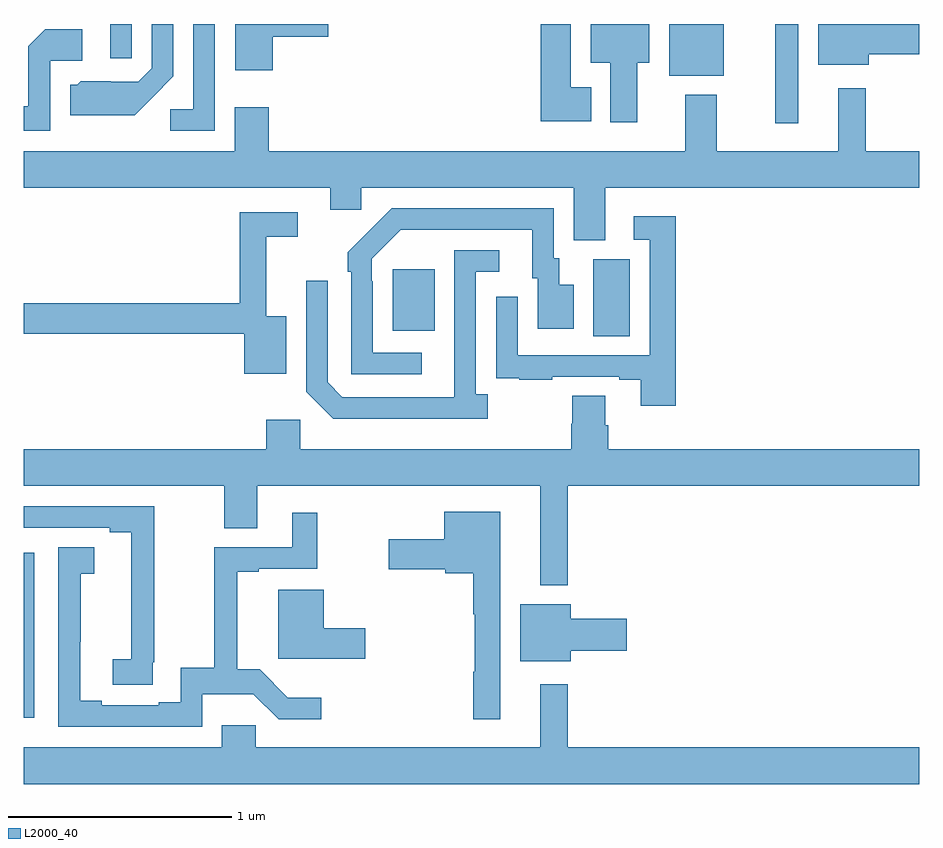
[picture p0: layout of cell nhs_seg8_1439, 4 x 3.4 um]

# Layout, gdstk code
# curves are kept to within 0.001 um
import gdstk
lib = gdstk.Library(unit=1e-6, precision=1e-09)
def R(c, l, rs):  # rectangles x0, y0, x1, y1
    for r in rs: c.add(gdstk.rectangle(r[:2], r[2:], *l))
def P(c, l, *ps):  # polygons
    for p in ps: c.add(gdstk.Polygon(p, *l))
L2000_40 = (2000, 40)

nhs_seg8_1439 = lib.new_cell('nhs_seg8_1439')
R(nhs_seg8_1439, L2000_40, [(203,1112.801,203.047,1113.538), (205.544,1114.504,205.708,1114.848), (204.647,1114.529,204.835,1114.804), (206.357,1115.457,206.461,1115.9), (205.883,1115.669,206.128,1115.9), (203.385,1115.748,203.481,1115.9)])
P(nhs_seg8_1439, L2000_40, [(205.741,1115.726),(205.795,1115.726),(205.795,1115.9),(205.532,1115.9),(205.532,1115.726),(205.619,1115.726),(205.619,1115.46),(205.741,1115.46)],
  [(204.112,1115.843),(204.361,1115.843),(204.361,1115.9),(203.945,1115.9),(203.945,1115.694),(204.112,1115.694)],
  [(206.776,1115.764),(207,1115.764),(207,1115.9),(206.549,1115.9),(206.549,1115.717),(206.776,1115.717)],
  [(203.575,1115.573),(203.667,1115.666),(203.667,1115.9),(203.571,1115.9),(203.571,1115.703),(203.511,1115.643),(203.254,1115.644),(203.238,1115.628),(203.207,1115.628),(203.207,1115.492),(203.495,1115.492)],
  [(203.853,1115.9),(203.757,1115.9),(203.757,1115.52),(203.655,1115.52),(203.655,1115.424),(203.853,1115.424)],
  [(205.534,1115.617),(205.444,1115.617),(205.444,1115.9),(205.31,1115.9),(205.31,1115.465),(205.534,1115.465)],
  [(203.118,1115.736),(203.26,1115.736),(203.26,1115.876),(203.095,1115.876),(203.019,1115.8),(203.019,1115.533),(203,1115.533),(203,1115.424),(203.118,1115.424)],
  [(205.597,1115.168),(207,1115.168),(207,1115.332),(206.761,1115.332),(206.761,1115.614),(206.639,1115.614),(206.639,1115.332),(206.095,1115.332),(206.095,1115.584),(205.955,1115.584),(205.955,1115.332),(204.095,1115.332),(204.095,1115.527),(203.942,1115.527),(203.942,1115.332),(203,1115.332),(203,1115.168),(204.368,1115.168),(204.368,1115.07),(204.507,1115.07),(204.507,1115.168),(205.457,1115.168),(205.457,1114.933),(205.597,1114.933)],
  [(204.778,1114.431),(204.558,1114.431),(204.558,1114.751),(204.555,1114.751),(204.555,1114.851),(204.684,1114.98),(205.271,1114.98),(205.271,1114.764),(205.295,1114.764),(205.295,1114.539),(205.456,1114.539),(205.456,1114.735),(205.393,1114.735),(205.393,1114.854),(205.368,1114.854),(205.368,1115.076),(204.644,1115.076),(204.447,1114.881),(204.447,1114.793),(204.462,1114.793),(204.462,1114.335),(204.778,1114.335)],
  [(204.172,1114.594),(204.083,1114.594),(204.083,1114.95),(204.223,1114.95),(204.223,1115.058),(203.965,1115.058),(203.965,1114.652),(203,1114.652),(203,1114.516),(203.985,1114.516),(203.985,1114.337),(204.172,1114.337)],
  [(205.913,1115.041),(205.725,1115.041),(205.725,1114.935),(205.797,1114.935),(205.797,1114.419),(205.206,1114.419),(205.206,1114.681),(205.11,1114.681),(205.11,1114.426),(205.111,1114.426),(205.111,1114.317),(205.213,1114.317),(205.213,1114.311),(205.361,1114.311),(205.361,1114.323),(205.661,1114.323),(205.661,1114.311),(205.757,1114.311),(205.757,1114.194),(205.913,1114.194)],
  [(205.072,1114.246),(205.02,1114.246),(205.02,1114.794),(205.123,1114.794),(205.123,1114.89),(204.924,1114.89),(204.923,1114.233),(204.423,1114.233),(204.357,1114.299),(204.357,1114.753),(204.261,1114.753),(204.261,1114.257),(204.382,1114.136),(205.072,1114.136)],
  [(205.45,1114.238),(205.45,1114.113),(205.445,1114.113),(205.445,1114),(204.234,1114),(204.234,1114.132),(204.083,1114.132),(204.083,1114),(203,1114),(203,1113.836),(203.896,1113.836),(203.896,1113.646),(204.043,1113.646),(204.043,1113.836),(205.307,1113.836),(205.307,1113.392),(205.429,1113.392),(205.429,1113.836),(207,1113.836),(207,1114),(205.61,1114),(205.61,1114.106),(205.597,1114.106),(205.597,1114.238)],
  [(203.576,1113.049),(203.582,1113.049),(203.582,1113.744),(203,1113.744),(203,1113.648),(203.384,1113.648),(203.384,1113.628),(203.48,1113.628),(203.48,1113.345),(203.479,1113.345),(203.479,1113.062),(203.397,1113.062),(203.397,1112.947),(203.576,1112.947)],
  [(205.129,1113.721),(204.878,1113.721),(204.878,1113.598),(204.63,1113.598),(204.63,1113.464),(204.882,1113.464),(204.882,1113.446),(205.008,1113.446),(205.008,1113.262),(205.015,1113.262),(205.015,1113.005),(205.008,1113.005),(205.008,1112.793),(205.129,1112.793)],
  [(203.796,1112.906),(204.025,1112.906),(204.138,1112.793),(204.328,1112.793),(204.328,1112.89),(204.179,1112.89),(204.053,1113.016),(203.954,1113.016),(203.954,1113.453),(204.049,1113.453),(204.049,1113.465),(204.31,1113.465),(204.31,1113.715),(204.2,1113.715),(204.2,1113.561),(203.851,1113.561),(203.851,1113.023),(203.7,1113.023),(203.7,1112.87),(203.603,1112.87),(203.603,1112.856),(203.347,1112.856),(203.347,1112.876),(203.251,1112.876),(203.251,1113.139),(203.253,1113.139),(203.253,1113.443),(203.314,1113.443),(203.314,1113.563),(203.154,1113.563),(203.154,1112.76),(203.796,1112.76)],
  [(204.526,1113.2),(204.34,1113.2),(204.34,1113.373),(204.137,1113.373),(204.137,1113.063),(204.526,1113.063)],
  [(205.444,1113.1),(205.693,1113.1),(205.693,1113.242),(205.444,1113.242),(205.444,1113.307),(205.217,1113.307),(205.217,1113.053),(205.444,1113.053)],
  [(207,1112.668),(205.429,1112.668),(205.429,1112.95),(205.307,1112.95),(205.307,1112.668),(204.037,1112.668),(204.037,1112.766),(203.885,1112.766),(203.885,1112.668),(203,1112.668),(203,1112.504),(207,1112.504)])

lib.write_gds('nhs_seg8_1439.gds')
